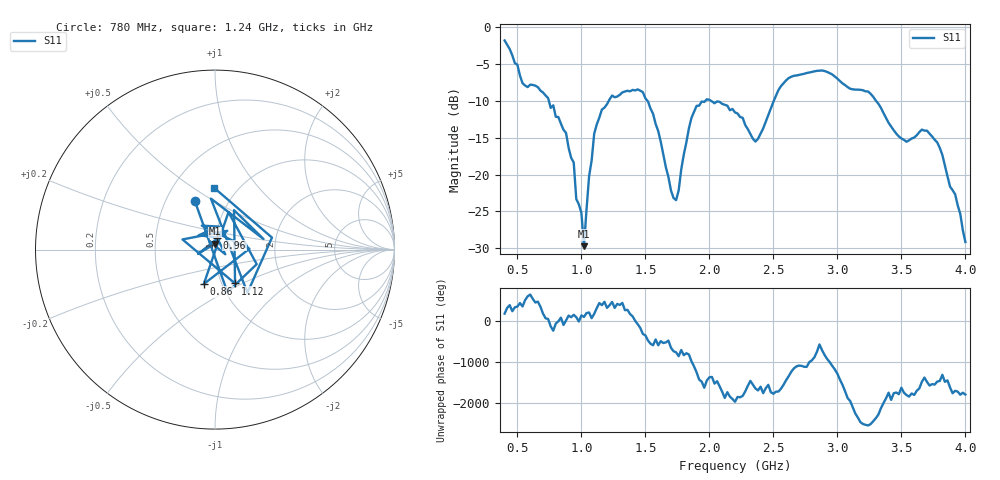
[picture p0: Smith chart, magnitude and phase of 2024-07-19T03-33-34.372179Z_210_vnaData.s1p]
!Created with skrf (http://scikit-rf.org).
# Hz S RI R 50.0
!freq ReS11 ImS11
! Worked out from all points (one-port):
!   181 points, 400 MHz to 4 GHz, reference 50 ohm
!   lowest |S11| = -29.7 dB at 1.02 GHz (marker M1), VSWR 1.07, Z = 50 + j3.27 ohm
!   |S11| at or under -10 dB: 746 MHz to 1.213 GHz (467.2 MHz wide, 47.7 % of centre); 2.015 GHz to 2.502 GHz (487.5 MHz wide, 21.6 % of centre); 3.303 GHz to end of sweep (the widest 3 of 4)
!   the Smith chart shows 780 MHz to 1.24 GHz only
!   S11 on the Smith chart (normalised r, x): 780 MHz: 0.69, +0.42; 860 MHz: 0.82, -0.33; 960 MHz: 1.01, +0.14; 1.12 GHz: 1.15, -0.46; 1.24 GHz: 0.78, +0.61
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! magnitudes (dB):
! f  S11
! 400 MHz  -1.8
! 540 MHz  -7.6
! 780 MHz  -10.6
! 860 MHz  -13.9
! 940 MHz  -18.4
! 960 MHz  -23.3
! 1 GHz  -25.2
! 1.02 GHz  -29.7
! 1.06 GHz  -20.2
! 1.12 GHz  -13.2
! 1.24 GHz  -9.3
! 1.3 GHz  -9.2
! 1.48 GHz  -8.8
! 1.6 GHz  -14.1
! 1.72 GHz  -23.2
! 1.76 GHz  -22.1
! 1.84 GHz  -13.7
! 1.9 GHz  -10.7
! 2.2 GHz  -11.5
! 2.36 GHz  -15.5
! 2.54 GHz  -8.5
! 2.66 GHz  -6.6
! 2.9 GHz  -5.9
! 3.1 GHz  -8.3
! 3.24 GHz  -8.7
! 3.56 GHz  -15.3
! 3.78 GHz  -15.6
! 4 GHz  -29.1
